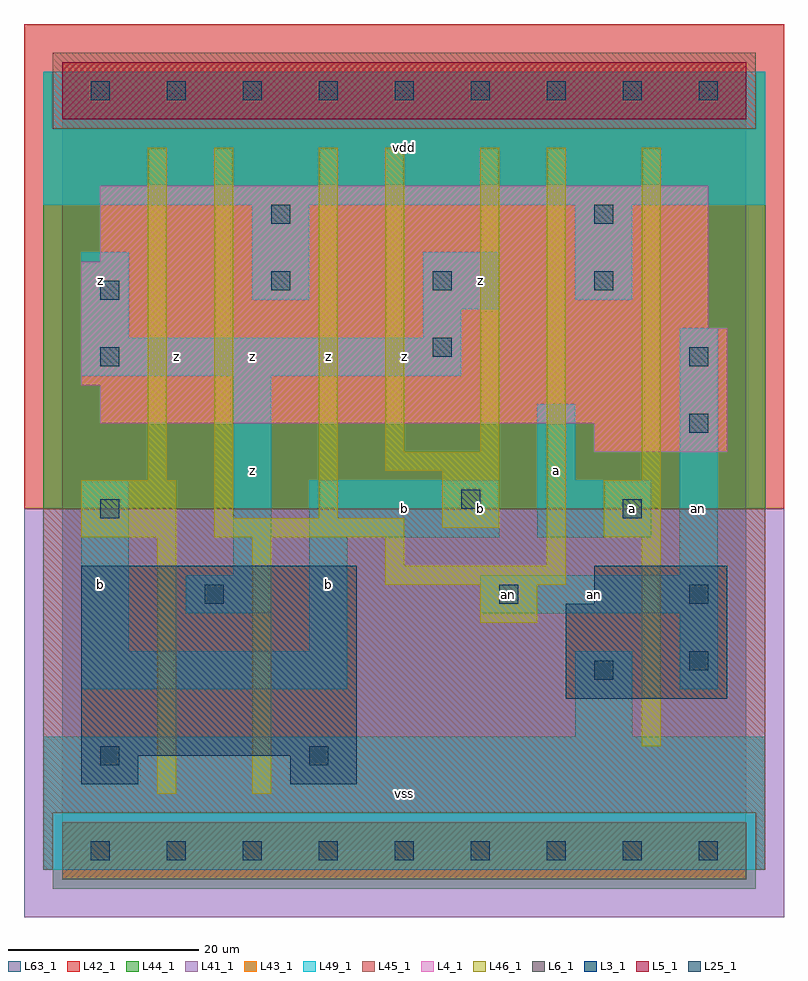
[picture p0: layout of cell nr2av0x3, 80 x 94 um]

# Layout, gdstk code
import gdstk
lib = gdstk.Library(unit=1e-6, precision=1e-09)
def R(c, l, rs):  # rectangles x0, y0, x1, y1
    for r in rs: c.add(gdstk.rectangle(r[:2], r[2:], *l))
def A(c, l, x, y, w, h, nx, ny, dx, dy):  # array of equal rectangles
    R(c, l, [(x+i*dx, y+j*dy, x+i*dx+w, y+j*dy+h) for i in range(nx) for j in range(ny)])
L3_1 = (3, 1)
L4_1 = (4, 1)
L5_1 = (5, 1)
L6_1 = (6, 1)
L25_1 = (25, 1)
L41_1 = (41, 1)
L42_1 = (42, 1)
L43_1 = (43, 1)
L44_1 = (44, 1)
L45_1 = (45, 1)
L46_1 = (46, 1)
L49_1 = (49, 1)
L63_1 = (63, 1)

nr2av0x3 = lib.new_cell('nr2av0x3')
R(nr2av0x3, L3_1, [(2,7,8,10), (24,7,31,10), (2,10,31,30), (53,16,70,26), (56,26,70,30)])
R(nr2av0x3, L4_1, [(56,42,70,45), (4,45,70,49), (2,49,70,55), (2,55,68,62), (4,62,68,70)])
R(nr2av0x3, L5_1, [(0,77,72,83)])
R(nr2av0x3, L6_1, [(0,-3,72,3), (0,-3,72,3)])
A(nr2av0x3, L25_1, 3, -1, 2, 2, 9, 2, 8, 80)
A(nr2av0x3, L25_1, 22, 59, 2, 2, 3, 1, 17, 0)
R(nr2av0x3, L25_1, [(4,9,6,11), (26,9,28,11), (56,18,58,20), (66,19,68,21), (15,26,17,28), (46,26,48,28), (66,26,68,28), (4,35,6,37), (59,35,61,37), (42,36,44,38), (66,44,68,46), (4,51,6,53), (66,51,68,53), (39,52,41,54), (4,58,6,60), (22,66,24,68), (56,66,58,68)])
R(nr2av0x3, L41_1, [(-4,-7,76,36)])
R(nr2av0x3, L42_1, [(-4,36,76,87)])
R(nr2av0x3, L43_1, [(0,-3,72,3), (2,7,8,10), (24,7,31,10), (2,10,31,30), (53,16,70,26), (56,26,70,30), (56,42,70,45), (4,45,70,49), (2,49,70,55), (2,55,68,62), (4,62,68,70), (0,77,72,83)])
R(nr2av0x3, L44_1, [(-1,-4,73,4), (-2,36,74,76), (-2,76,-1,82), (73,76,74,82)])
R(nr2av0x3, L45_1, [(-2,-2,-1,4), (73,-2,74,4), (-2,4,74,36), (-1,76,73,84)])
R(nr2av0x3, L46_1, [(10,6,12,33), (20,6,22,33), (61,11,63,33), (44,24,50,28), (34,28,53,30), (34,30,36,33), (51,30,53,74), (2,33,12,39), (16,33,36,35), (57,33,63,39), (40,34,46,40), (16,35,18,74), (27,35,29,74), (9,39,11,74), (61,39,63,74), (34,40,46,42), (34,42,36,74), (44,42,46,74)])
R(nr2av0x3, L49_1, [(-2,-2,74,12), (54,12,60,21), (2,17,30,21), (65,17,69,25), (2,21,7,39), (26,21,30,33), (13,25,22,29), (44,25,69,29), (18,29,22,50), (65,29,69,55), (26,33,46,39), (50,33,62,39), (50,39,54,47), (2,50,42,54), (2,54,7,63), (38,54,42,57), (38,57,46,63), (20,58,26,68), (54,58,60,68), (-2,68,74,82)])
R(nr2av0x3, L63_1, [(0,0,72,80)])
nr2av0x3.add(gdstk.Label('an', (47,27), layer=49, texttype=1))
nr2av0x3.add(gdstk.Label('b', (4,28), layer=49, texttype=1))
nr2av0x3.add(gdstk.Label('z', (4,60), layer=49, texttype=1))
nr2av0x3.add(gdstk.Label('z', (20,40), layer=49, texttype=1))
nr2av0x3.add(gdstk.Label('z', (20,52), layer=49, texttype=1))
nr2av0x3.add(gdstk.Label('z', (12,52), layer=49, texttype=1))
nr2av0x3.add(gdstk.Label('vss', (36,6), layer=49, texttype=1))
nr2av0x3.add(gdstk.Label('b', (28,28), layer=49, texttype=1))
nr2av0x3.add(gdstk.Label('b', (36,36), layer=49, texttype=1))
nr2av0x3.add(gdstk.Label('z', (36,52), layer=49, texttype=1))
nr2av0x3.add(gdstk.Label('z', (28,52), layer=49, texttype=1))
nr2av0x3.add(gdstk.Label('vdd', (36,74), layer=49, texttype=1))
nr2av0x3.add(gdstk.Label('b', (44,36), layer=49, texttype=1))
nr2av0x3.add(gdstk.Label('a', (52,40), layer=49, texttype=1))
nr2av0x3.add(gdstk.Label('z', (44,60), layer=49, texttype=1))
nr2av0x3.add(gdstk.Label('an', (56,27), layer=49, texttype=1))
nr2av0x3.add(gdstk.Label('a', (60,36), layer=49, texttype=1))
nr2av0x3.add(gdstk.Label('an', (67,36), layer=49, texttype=1))

lib.write_gds('nr2av0x3.gds')
